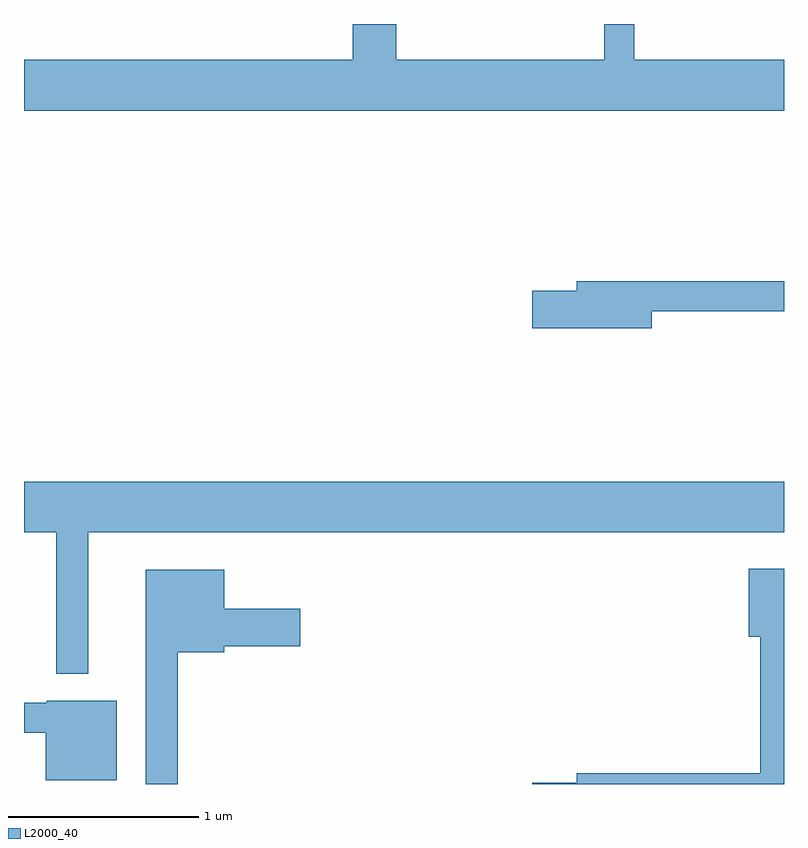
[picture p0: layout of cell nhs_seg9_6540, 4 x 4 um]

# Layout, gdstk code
import gdstk
lib = gdstk.Library(unit=1e-6, precision=1e-09)
def P(c, l, *ps):  # polygons
    for p in ps: c.add(gdstk.Polygon(p, *l))
L2000_40 = (2000, 40)

nhs_seg9_6540 = lib.new_cell('nhs_seg9_6540')
P(nhs_seg9_6540, L2000_40, [(381.611,2054.244),(380.824,2054.244),(380.824,2054.432),(380.666,2054.432),(380.666,2054.244),(379.569,2054.244),(379.569,2054.432),(379.341,2054.432),(379.341,2054.244),(377.611,2054.244),(377.611,2053.976),(381.611,2053.976)],
  [(380.914,2052.921),(381.611,2052.921),(381.611,2053.079),(380.521,2053.079),(380.521,2053.029),(380.286,2053.029),(380.286,2052.831),(380.914,2052.831)],
  [(377.949,2051.756),(381.611,2051.756),(381.611,2052.024),(377.611,2052.024),(377.611,2051.756),(377.781,2051.756),(377.781,2051.012),(377.949,2051.012)],
  [(381.611,2051.564),(381.426,2051.564),(381.426,2051.206),(381.486,2051.206),(381.486,2050.489),(380.521,2050.489),(380.521,2050.439),(380.286,2050.439),(380.286,2050.432),(381.611,2050.432)],
  [(378.419,2051.126),(378.664,2051.126),(378.664,2051.156),(379.064,2051.156),(379.064,2051.354),(378.664,2051.354),(378.664,2051.559),(378.251,2051.559),(378.251,2050.432),(378.419,2050.432)],
  [(378.099,2050.869),(377.73,2050.869),(377.73,2050.859),(377.611,2050.859),(377.611,2050.701),(377.726,2050.701),(377.726,2050.451),(378.099,2050.451)])

lib.write_gds('nhs_seg9_6540.gds')
